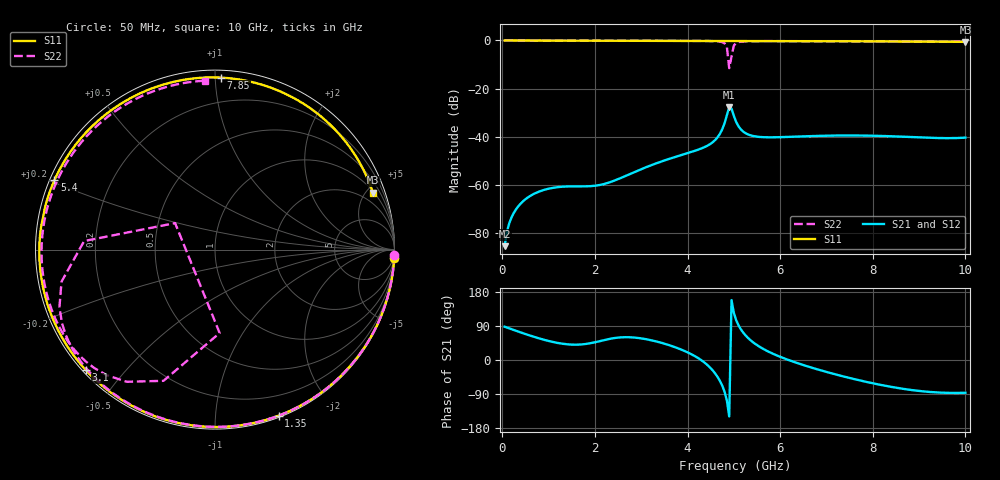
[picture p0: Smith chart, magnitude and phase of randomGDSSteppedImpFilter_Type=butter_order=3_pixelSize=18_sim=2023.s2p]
! freq	dB(S11)	phase(S11)	dB(S12)	phase(S12)
!  dB(S21)	phase(S21)	dB(S22)	phase(S22)
!S-par simulation data
#  GHz  S  DB  R 50
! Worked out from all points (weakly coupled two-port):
!   200 points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, 50 MHz to 10 GHz, reference 50 ohm
!   highest |S21| = -27.66 dB at 4.9 GHz (marker M1); lowest = -85.3 dB at 50 MHz (marker M2)
!   lowest |S11| = -0.6 dB at 10 GHz (marker M3), VSWR 29.69, Z = 54.9 + j276 ohm
!   |S11| at or under -10 dB: nowhere
!   |S22| runs from -11.5 to 0.0 dB; largest |S21 - S12| = 0
!   S11 on the Smith chart (normalised r, x): 50 MHz: 0, -42; 1.35 GHz: 0.01, -1.45; 3.1 GHz: 0.01, -0.39; 5.4 GHz: 0.01, +0.21; 7.85 GHz: 0.04, +1.04; 10 GHz: 1.10, +5.52
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0.05  -0.00 -2.7  -85.26 87.8  -85.26 87.8  -0.00 -1.8
0.25  -0.02 -13.5  -71.42 79.0  -71.42 79.0  -0.01 -8.7
0.5  -0.04 -26.8  -65.81 68.5  -65.81 68.5  -0.02 -17.4
1.35  -0.08 -69.1  -60.56 42.1  -60.56 42.1  -0.06 -46.1
1.75  -0.10 -86.8  -60.48 41.5  -60.48 41.5  -0.07 -59.0
2.25  -0.11 -107.0  -59.22 54.0  -59.22 54.0  -0.09 -74.6
3.1  -0.14 -137.0  -52.57 55.0  -52.57 55.0  -0.12 -99.7
3.4  -0.15 -146.5  -50.41 46.6  -50.41 46.6  -0.13 -108.2
4.4  -0.18 -176.0  -43.90 -10.2  -43.90 -10.2  -0.22 -138.2
4.75  -0.20 174.3  -36.80 -67.7  -36.80 -67.7  -0.69 -159.7
4.85  -0.21 171.5  -30.95 -107.5  -30.95 -107.5  -2.73 176.3
4.9  -0.22 170.1  -27.66 -149.0  -27.66 -149.0  -11.47 146.4
4.95  -0.22 168.9  -28.21 158.1  -28.21 158.1  -6.64 -86.8
5  -0.21 167.5  -31.24 124.6  -31.24 124.6  -2.10 -111.4
5.05  -0.21 166.2  -33.75 105.2  -33.75 105.2  -1.06 -123.7
5.15  -0.21 163.4  -36.82 81.3  -36.82 81.3  -0.51 -135.7
5.4  -0.22 156.6  -39.53 48.2  -39.53 48.2  -0.30 -148.8
6.7  -0.29 121.1  -39.62 -20.9  -39.62 -20.9  -0.31 176.1
7.85  -0.37 88.0  -39.44 -57.5  -39.44 -57.5  -0.38 148.3
8.35  -0.40 72.8  -39.67 -69.8  -39.67 -69.8  -0.41 136.0
9.1  -0.47 49.1  -40.25 -82.9  -40.25 -82.9  -0.46 117.1
10  -0.59 19.8  -40.27 -86.5  -40.27 -86.5  -0.51 93.3
